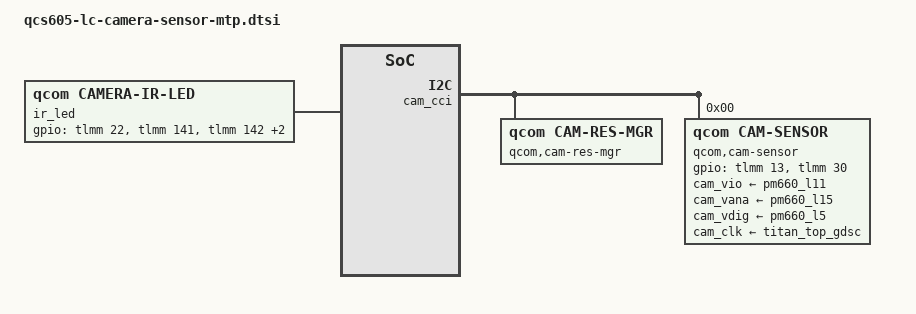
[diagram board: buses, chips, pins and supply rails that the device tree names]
/*
 * Copyright (c) 2018-2019, The Linux Foundation. All rights reserved.
 *
 * This program is free software; you can redistribute it and/or modify
 * it under the terms of the GNU General Public License version 2 and
 * only version 2 as published by the Free Software Foundation.
 *
 * This program is distributed in the hope that it will be useful,
 * but WITHOUT ANY WARRANTY; without even the implied warranty of
 * MERCHANTABILITY or FITNESS FOR A PARTICULAR PURPOSE.  See the
 * GNU General Public License for more details.
 */

&soc {
	ir_led: qcom,camera-ir-led@0 {
		cell-index = <0>;
		reg = <0x00>;
		compatible = "qcom,camera-ir-led";
		enable-active-high;

		gpio-no-mux = <0>;
		pinctrl-names = "cam_default", "cam_suspend";
		pinctrl-0 = <&cam_sensor_ir_led_on>;
		pinctrl-1 = <&cam_sensor_ir_led_off>;
		gpios = <&tlmm 22 0>,
			<&tlmm 141 0>,
			<&tlmm 142 0>,
			<&tlmm 107 0>,
			<&tlmm 110 0>;
		gpio-req-tbl-num = <0 1 2 3 4>;
		gpio-req-tbl-flags = <0 0 0 0 0>;
		gpio-req-tbl-label = "CAM_IR_LED",
					"CAM_IR_LED_CUR0",
					"CAM_IR_LED_CUR1",
					"CAM_IR_CUT1",
					"CAM_IR_CUT2";
		status = "ok";
	};
};

&cam_cci {
	qcom,cam-res-mgr {
		compatible = "qcom,cam-res-mgr";
		status = "ok";
	};

	qcom,cam-sensor@0 {
		cell-index = <0>;
		compatible = "qcom,cam-sensor";
		reg = <0x0>;
		csiphy-sd-index = <0>;
		sensor-position-roll = <270>;
		sensor-position-pitch = <0>;
		sensor-position-yaw = <180>;
		ir-led-src = <&ir_led>;
		cam_vio-supply = <&pm660_l11>;
		cam_vana-supply = <&pm660_l15>;
		cam_vdig-supply = <&pm660_l5>;
		cam_clk-supply = <&titan_top_gdsc>;
		regulator-names = "cam_vio", "cam_vana", "cam_vdig",
			"cam_clk";
		rgltr-cntrl-support;
		rgltr-min-voltage = <1800000 2900000 1200000 0>;
		rgltr-max-voltage = <1800000 2900000 1200000 0>;
		rgltr-load-current = <0 80000 105000 0>;
		gpio-no-mux = <0>;
		pinctrl-names = "cam_default", "cam_suspend";
		pinctrl-0 = <&cam_sensor_mclk0_active
				&cam_sensor_rear_active>;
		pinctrl-1 = <&cam_sensor_mclk0_suspend
				&cam_sensor_rear_suspend>;
		gpios = <&tlmm 13 0>,
			<&tlmm 30 0>;
		gpio-reset = <1>;
		gpio-req-tbl-num = <0 1>;
		gpio-req-tbl-flags = <1 0>;
		gpio-req-tbl-label = "CAMIF_MCLK0",
					"CAM_RESET0";
		sensor-mode = <0>;
		cci-master = <0>;
		status = "ok";
		clocks = <&clock_camcc CAM_CC_MCLK0_CLK>;
		clock-names = "cam_clk";
		clock-cntl-level = "turbo";
		clock-rates = <24000000>;
	};
};
